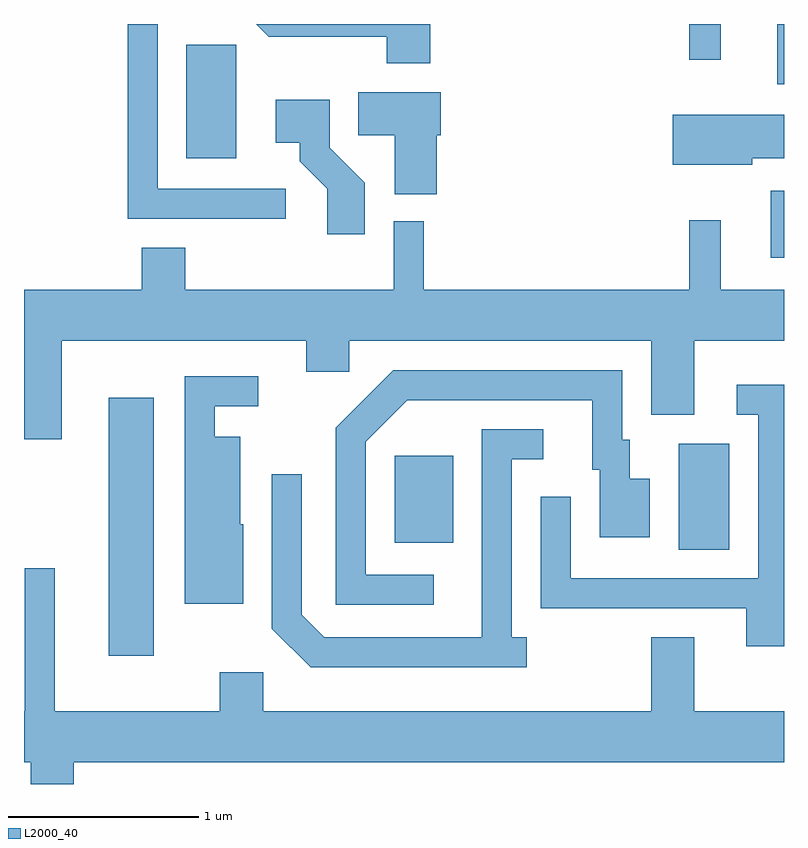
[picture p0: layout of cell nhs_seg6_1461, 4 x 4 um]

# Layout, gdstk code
import gdstk
lib = gdstk.Library(unit=1e-6, precision=1e-09)
def R(c, l, rs):  # rectangles x0, y0, x1, y1
    for r in rs: c.add(gdstk.rectangle(r[:2], r[2:], *l))
def P(c, l, *ps):  # polygons
    for p in ps: c.add(gdstk.Polygon(p, *l))
L2000_40 = (2000, 40)

nhs_seg6_1461 = lib.new_cell('nhs_seg6_1461')
R(nhs_seg6_1461, L2000_40, [(230.056,1532.836,230.294,1534.194), (233.056,1533.396,233.324,1533.954), (231.561,1533.431,231.869,1533.889), (233.541,1534.931,233.611,1535.284), (230.466,1535.456,230.729,1536.054), (233.576,1535.846,233.611,1536.162), (233.111,1535.973,233.279,1536.162)])
P(nhs_seg6_1461, L2000_40, [(231.749,1536.162),(230.833,1536.162),(230.899,1536.096),(231.521,1536.096),(231.521,1535.956),(231.749,1535.956)],
  [(230.988,1535.294),(230.314,1535.294),(230.314,1536.162),(230.156,1536.162),(230.156,1535.136),(230.988,1535.136)],
  [(231.784,1535.576),(231.804,1535.576),(231.804,1535.804),(231.371,1535.804),(231.371,1535.576),(231.561,1535.576),(231.561,1535.266),(231.784,1535.266)],
  [(231.404,1535.327),(231.219,1535.512),(231.219,1535.764),(230.936,1535.764),(230.936,1535.536),(231.061,1535.536),(231.061,1535.439),(231.206,1535.294),(231.206,1535.056),(231.404,1535.056)],
  [(233.444,1535.456),(233.611,1535.456),(233.611,1535.684),(233.026,1535.684),(233.026,1535.421),(233.444,1535.421)],
  [(229.809,1534.496),(231.096,1534.496),(231.096,1534.331),(231.324,1534.331),(231.324,1534.496),(232.911,1534.496),(232.911,1534.106),(233.139,1534.106),(233.139,1534.496),(233.611,1534.496),(233.611,1534.764),(233.279,1534.764),(233.279,1535.128),(233.111,1535.128),(233.111,1534.764),(231.714,1534.764),(231.714,1535.123),(231.556,1535.123),(231.556,1534.764),(230.459,1534.764),(230.459,1534.984),(230.231,1534.984),(230.231,1534.764),(229.611,1534.764),(229.611,1533.976),(229.809,1533.976)],
  [(231.768,1533.264),(231.409,1533.264),(231.409,1533.964),(231.627,1534.181),(232.601,1534.181),(232.601,1533.816),(232.641,1533.816),(232.641,1533.461),(232.904,1533.461),(232.904,1533.769),(232.799,1533.769),(232.799,1533.974),(232.759,1533.974),(232.759,1534.339),(231.554,1534.339),(231.251,1534.037),(231.251,1533.106),(231.768,1533.106)],
  [(230.764,1533.53),(230.749,1533.53),(230.749,1533.989),(230.614,1533.989),(230.614,1534.151),(230.843,1534.151),(230.843,1534.309),(230.456,1534.309),(230.456,1533.111),(230.764,1533.111)],
  [(233.611,1534.264),(233.363,1534.264),(233.363,1534.106),(233.476,1534.106),(233.476,1533.244),(232.489,1533.244),(232.489,1533.673),(232.331,1533.673),(232.331,1533.086),(233.411,1533.086),(233.411,1532.886),(233.611,1532.886)],
  [(232.258,1532.934),(232.179,1532.934),(232.179,1533.871),(232.343,1533.871),(232.343,1534.029),(232.021,1534.029),(232.021,1532.934),(231.192,1532.934),(231.074,1533.052),(231.074,1533.793),(230.916,1533.793),(230.916,1532.979),(231.119,1532.776),(232.258,1532.776)],
  [(233.611,1532.544),(233.139,1532.544),(233.139,1532.934),(232.911,1532.934),(232.911,1532.544),(230.869,1532.544),(230.869,1532.749),(230.641,1532.749),(230.641,1532.544),(229.774,1532.544),(229.774,1533.298),(229.616,1533.298),(229.616,1532.544),(229.611,1532.544),(229.611,1532.276),(229.646,1532.276),(229.646,1532.162),(229.874,1532.162),(229.874,1532.276),(233.611,1532.276)])

lib.write_gds('nhs_seg6_1461.gds')
